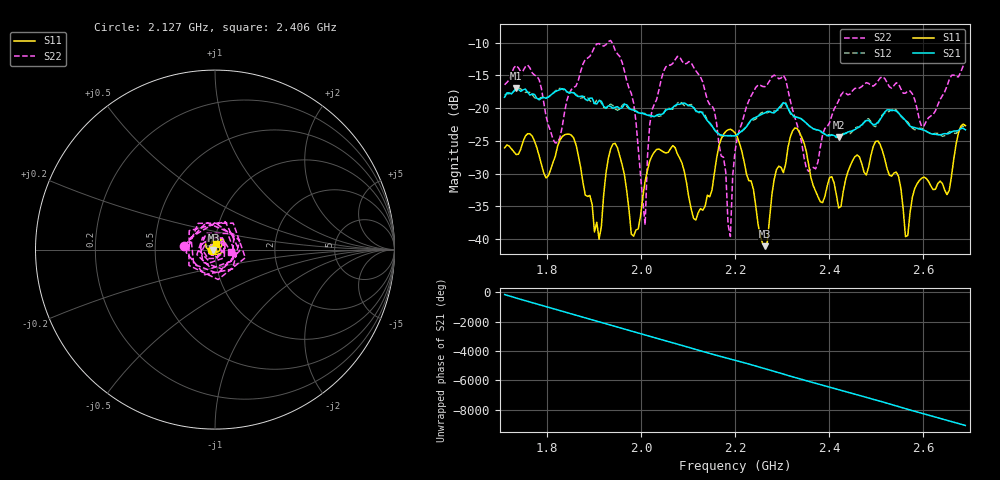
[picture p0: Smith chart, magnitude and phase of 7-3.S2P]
!Agilent Technologies,E5061B,MY49305579,A.02.22
!Date: Thu Aug 24 16:25:11 2017
!Data & Calibration Information:
!Freq	S11:SOLT2(ON)	S21:SOLT2(ON)	S12:SOLT2(ON)	S22:SOLT2(ON)
# Hz S dB R 50
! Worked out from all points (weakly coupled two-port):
!   201 points, 1.71 GHz to 2.69 GHz, reference 50 ohm
!   highest |S21| = -16.94 dB at 1.734 GHz (marker M1); lowest = -24.4 dB at 2.421 GHz (marker M2)
!   lowest |S11| = -41.1 dB at 2.264 GHz (marker M3), VSWR 1.02, Z = 49.1 - j0.19 ohm
!   |S11| at or under -10 dB: start of sweep to end of sweep
!   |S22| runs from -39.6 to -9.7 dB; largest |S21 - S12| = 0.01
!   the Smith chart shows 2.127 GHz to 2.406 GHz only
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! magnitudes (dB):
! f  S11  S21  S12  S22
! 1.71 GHz  -26.1  -18.3  -18.0  -16.4
! 1.734 GHz  -27.1  -16.9  -17.0  -13.5
! 1.818 GHz  -27.4  -17.5  -17.4  -25.3
! 1.877 GHz  -31.3  -18.2  -18.4  -13.3
! 1.911 GHz  -40.0  -18.8  -18.7  -10.1
! 1.935 GHz  -26.3  -19.7  -19.4  -9.7
! 1.96 GHz  -28.6  -20.0  -19.6  -13.0
! 1.984 GHz  -39.6  -20.3  -20.2  -19.2
! 2.009 GHz  -31.1  -21.0  -20.8  -37.8
! 2.019 GHz  -28.1  -21.1  -21.2  -22.5
! 2.038 GHz  -26.3  -20.9  -21.2  -17.2
! 2.127 GHz  -35.3  -20.5  -20.6  -15.2
! 2.19 GHz  -23.2  -24.2  -24.2  -39.6
! 2.2 GHz  -23.8  -24.2  -24.2  -26.6
! 2.264 GHz  -41.1  -20.7  -20.7  -16.7
! 2.327 GHz  -23.0  -21.3  -21.4  -21.4
! 2.367 GHz  -31.9  -23.1  -23.2  -29.1
! 2.421 GHz  -35.3  -24.4  -24.4  -18.8
! 2.499 GHz  -25.1  -22.5  -22.8  -16.4
! 2.528 GHz  -30.3  -20.3  -20.5  -16.7
! 2.567 GHz  -39.5  -22.4  -22.1  -17.4
! 2.69 GHz  -22.7  -23.3  -23.1  -13.3
